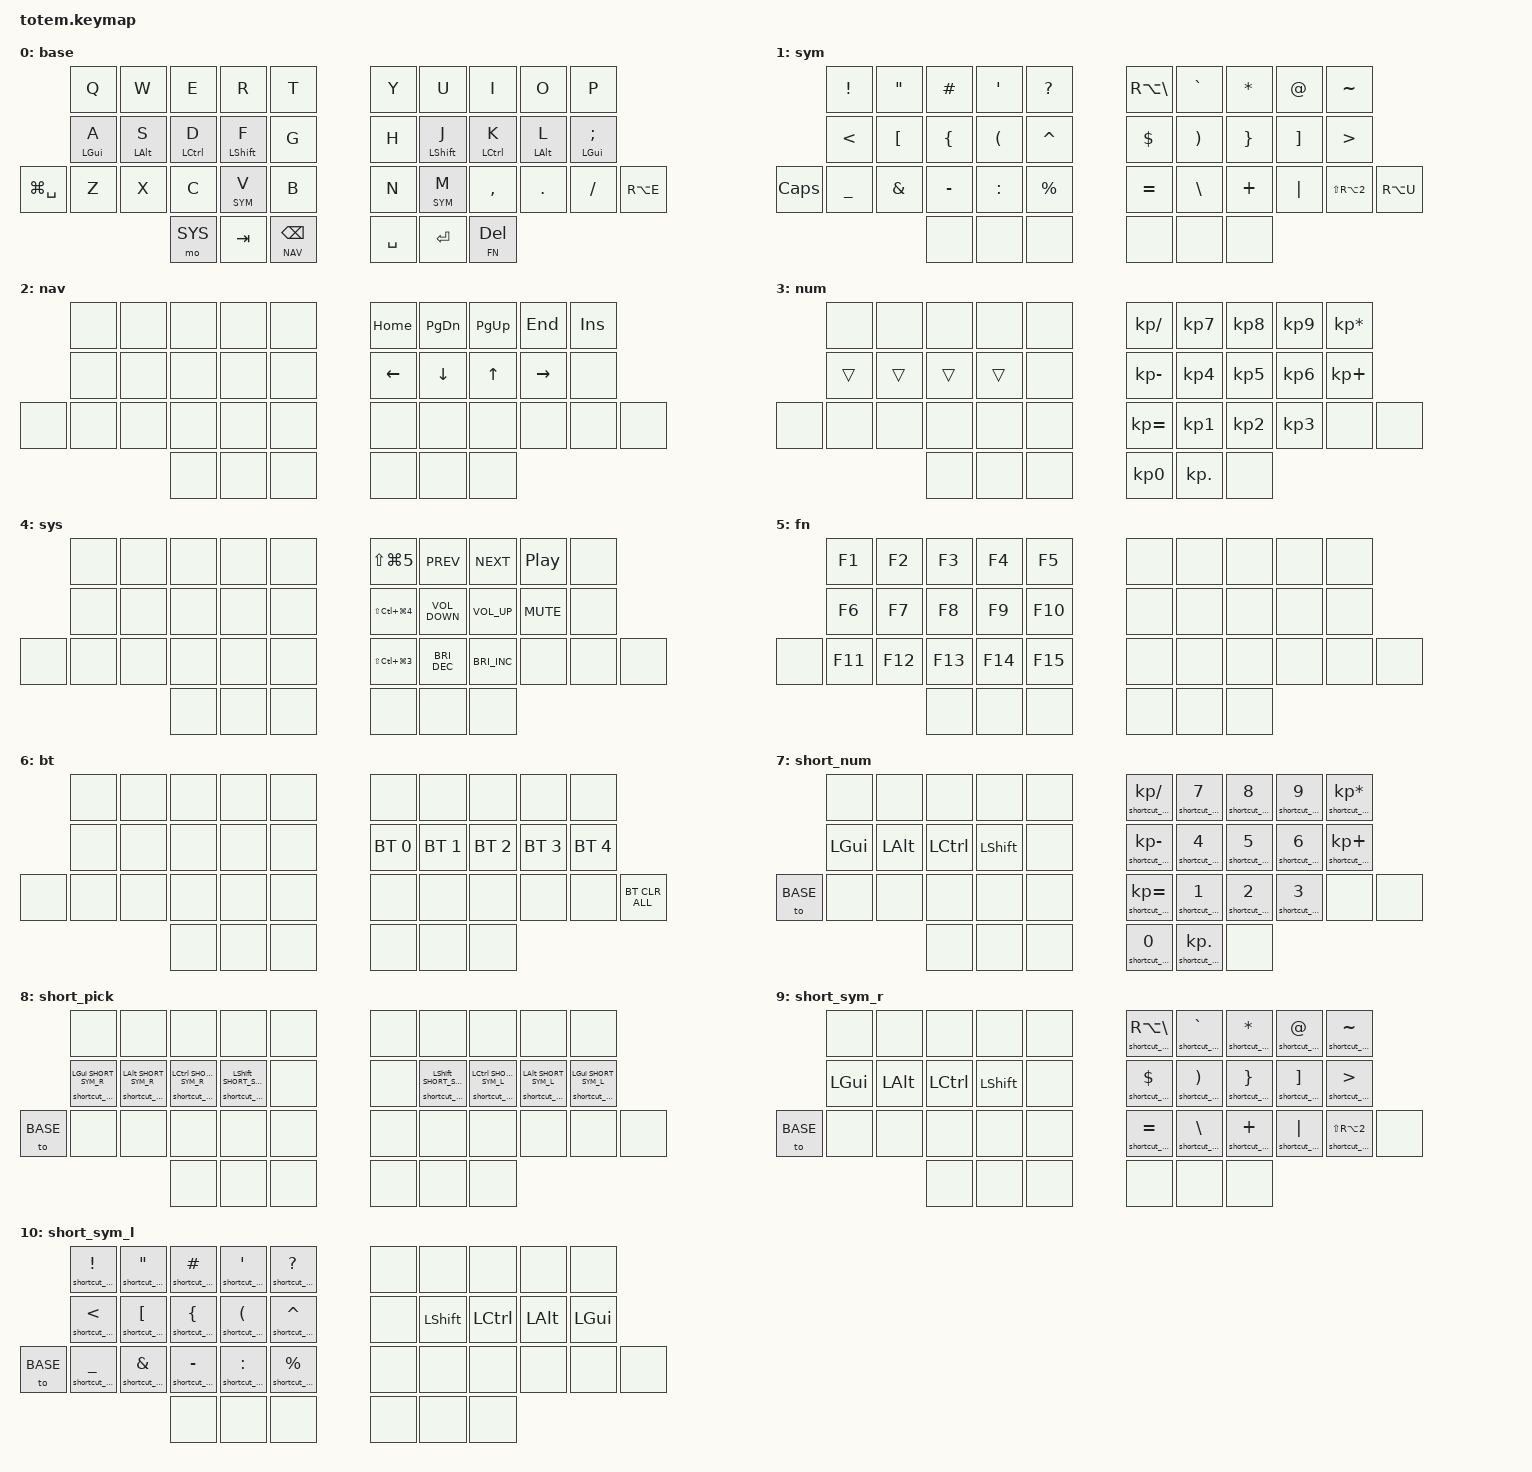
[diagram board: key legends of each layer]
//
//                                                        ▀▀▀▀▀     ▀▀▀▀▀          ▀▀█▀▀
//                                                        ▄▀▀▀▄  ▄  ▄▀▀▀▄  ▄  ▄▀▀▀▄  █  ▄▀▀▀▄
//                                                        █   █  █  █   █  █  █   █  █  █   █
//                                                         ▀▀▀   █   ▀▀▀   █   ▀▀▀   ▀   ▀▀▀
//                                                               █      ▄▄▄█▄▄▄    █   █  
//                                                               ▀      █  █  █     █▄█
//                                                             ▀▀▀▀▀    █  █  █      ▀
//                                                                      ▀  ▀  ▀
//
// ▄▄▄▄▄▄▄▄▄▄▄▄▄▄▄▄▄▄▄▄▄▄▄▄▄▄▄▄▄▄▄▄▄▄▄▄▄▄▄▄▄▄▄▄▄▄▄▄▄▄▄▄▄▄▄▄▄▄▄▄▄▄▄▄▄▄▄▄▄▄▄▄▄▄▄▄▄▄▄▄▄▄▄▄▄▄▄▄▄▄▄▄▄▄▄▄▄▄▄▄▄▄▄▄▄▄▄▄▄▄▄▄▄▄▄▄▄▄▄▄▄▄▄▄▄▄▄▄▄▄▄▄▄▄▄▄▄▄▄▄▄▄▄▄▄▄▄▄▄

#include <behaviors.dtsi>
#include <dt-bindings/zmk/bt.h>
#include <dt-bindings/zmk/keys.h>

#define BASE 0
#define SYM  1
#define NAV  2
#define NUM  3
#define SYS  4
#define FN   5
#define BT   6
#define SHORT_NUM   7
#define SHORT_PICK  8
#define SHORT_SYM_R 9
#define SHORT_SYM_L 10

/ {
    combos {
        compatible = "zmk,combos";

        combo_excl {
            bindings = <&kp RA(NUMBER_1)>;
            key-positions = <23 24>;
            layers = <SYM>;
        };

        combo_qmark {
            bindings = <&kp RA(RS(FSLH))>;
            key-positions = <27 28>;
            layers = <SYM>;
        };

        combo_guillemet_close {
            bindings = <&kp RA(RS(BACKSLASH))>;
            key-positions = <5 6>;
            layers = <SYM>;
        };

        combo_enie {
            bindings = <&macro_enie>;
            key-positions = <19 35>;
            layers = <BASE>;
        };

        combo_esc {
            bindings = <&kp ESC>;
            key-positions = <13 16>;
            layers = <BASE>;
        };

        combo_num {
            bindings = <&mo NUM>;
            key-positions = <23 24>;
            layers = <BASE>;
        };

        // Tap and release the thumbs, then enter one modified number/symbol.
        combo_shortcut_num {
            bindings = <&to SHORT_NUM>;
            key-positions = <34 35>;
            layers = <BASE>;
        };

        combo_shortcut_sym {
            bindings = <&to SHORT_PICK>;
            key-positions = <34 36>;
            layers = <BASE>;
        };

        combo_shortcut_excl {
            bindings = <&shortcut_key RA(NUMBER_1)>;
            key-positions = <23 24>;
            layers = <SHORT_SYM_L>;
        };

        combo_shortcut_qmark {
            bindings = <&shortcut_key RA(RS(FSLH))>;
            key-positions = <27 28>;
            layers = <SHORT_SYM_R>;
        };

        combo_shortcut_guillemet_close {
            bindings = <&shortcut_key RA(RS(BACKSLASH))>;
            key-positions = <5 6>;
            layers = <SHORT_SYM_R>;
        };

        combo_mgrid {
            bindings = <&kp LA(LG(G))>;
            key-positions = <34 37>;
        };

        combo_bt {
            bindings = <&mo BT>;
            key-positions = <22 23 24>;
            layers = <BASE>;
        };
    };

    behaviors {
        hrm_l: hrm_l {
            compatible = "zmk,behavior-hold-tap";
            label = "HRM_L";
            bindings = <&kp>, <&kp>;

            #binding-cells = <2>;
            flavor = "balanced";
            tapping-term-ms = <250>;
            quick-tap-ms = <200>;
            hold-trigger-key-positions = <5 6 7 8 9 31 19 30 29 18 17 28 16 27 15 26 37 36 35 34 33 32 10 11 12 13>;
            require-prior-idle-ms = <150>;
            hold-trigger-on-release;
        };

        hrm_r: hrm_r {
            compatible = "zmk,behavior-hold-tap";
            label = "HRM_R";
            bindings = <&kp>, <&kp>;

            #binding-cells = <2>;
            tapping-term-ms = <250>;
            quick-tap-ms = <200>;
            flavor = "balanced";
            hold-trigger-key-positions = <0 1 2 3 4 14 20 21 22 23 24 25 32 33 34 35 36 37 10 11 12 13 16 17 18 19>;
            require-prior-idle-ms = <150>;
            hold-trigger-on-release;
        };

        thumb_hold_tap: thumb_hold_tap {
            compatible = "zmk,behavior-hold-tap";
            label = "THUMB_HOLD_TAP";
            bindings = <&mo>, <&kp>;

            #binding-cells = <2>;
            tapping-term-ms = <200>;
            quick-tap-ms = <200>;
            flavor = "tap-preferred";
        };
    };

    macros {
        // The first modifier fixes the symbol hand; later modifiers are plain kp.
        shortcut_pick: shortcut_pick {
            compatible = "zmk,behavior-macro-two-param";
            #binding-cells = <2>;
            wait-ms = <0>;
            tap-ms = <0>;
            bindings = <&macro_tap>,
                       <&macro_param_2to1 &to MACRO_PLACEHOLDER>,
                       <&macro_press>,
                       <&macro_param_1to1 &kp MACRO_PLACEHOLDER>,
                       <&macro_pause_for_release>,
                       <&macro_release>,
                       <&macro_param_1to1 &kp MACRO_PLACEHOLDER>;
        };

        // Keep the target pressed normally; return to base only on its release.
        // Modifiers stay down until their own physical keys are released.
        shortcut_key: shortcut_key {
            compatible = "zmk,behavior-macro-one-param";
            #binding-cells = <1>;
            wait-ms = <0>;
            tap-ms = <0>;
            bindings = <&macro_press>,
                       <&macro_param_1to1 &kp MACRO_PLACEHOLDER>,
                       <&macro_pause_for_release>,
                       <&macro_release>,
                       <&macro_param_1to1 &kp MACRO_PLACEHOLDER>,
                       <&macro_tap &to BASE>;
        };

        macro_enie: macro_enie {
            compatible = "zmk,behavior-macro";
            #binding-cells = <0>;
            bindings = <&kp RA(N) &kp N>;
            label = "MACRO_ENIE";
        };
    };

    keymap {
        compatible = "zmk,keymap";

        base {
            bindings = <
               &kp Q          &kp W          &kp E           &kp R            &kp T                          &kp Y      &kp U           &kp I                     &kp O          &kp P
               &hrm_l LGUI A  &hrm_l LALT S  &hrm_l LCTRL D  &hrm_l LSHIFT F  &kp G                          &kp H      &hrm_r LSHFT J  &hrm_r LCTRL K            &hrm_r LALT L  &hrm_r LGUI SEMICOLON
&kp LG(SPACE)  &kp Z          &kp X          &kp C           &lt SYM V        &kp B                          &kp N      &lt SYM M       &kp COMMA                 &kp DOT        &kp SLASH              &kp RA(E)
                                             &mo SYS         &kp TAB          &thumb_hold_tap NAV BACKSPACE  &kp SPACE  &kp RETURN      &thumb_hold_tap FN DELETE
            >;
        };

        sym {
            bindings = <
              &kp EXCL        &kp DOUBLE_QUOTES  &kp HASH        &kp SQT               &kp QMARK      &kp RA(BACKSLASH)  &kp GRAVE              &kp ASTERISK     &kp AT_SIGN        &kp TILDE
              &kp LESS_THAN   &kp LEFT_BRACKET   &kp LEFT_BRACE  &kp LEFT_PARENTHESIS  &kp CARET      &kp DOLLAR  &kp RIGHT_PARENTHESIS  &kp RIGHT_BRACE  &kp RIGHT_BRACKET  &kp GREATER_THAN
&kp CAPSLOCK  &kp UNDERSCORE  &kp AMPERSAND      &kp MINUS       &kp COLON             &kp PERCENT    &kp EQUAL   &kp BACKSLASH          &kp PLUS         &kp PIPE           &kp LS(RA(N2))    &kp RA(U)
                                                     &none           &none                 &none          &none       &none                  &none
            >;
        };

        nav {
            bindings = <
       &none  &none  &none  &none  &none    &kp HOME  &kp PAGE_DOWN  &kp PAGE_UP  &kp END    &kp INS
       &none  &none  &none  &none  &none    &kp LEFT  &kp DOWN       &kp UP       &kp RIGHT  &none
&none  &none  &none  &none  &none  &none    &none     &none          &none        &none      &none    &none
                     &none  &none  &none    &none     &none          &none
            >;
        };

        num {
            bindings = <
       &none   &none   &none   &none   &none    &kp KP_DIVIDE    &kp KP_NUMBER_7  &kp KP_NUMBER_8  &kp KP_NUMBER_9  &kp KP_MULTIPLY
       &trans  &trans  &trans  &trans  &none    &kp KP_SUBTRACT  &kp KP_NUMBER_4  &kp KP_NUMBER_5  &kp KP_NUMBER_6  &kp KP_PLUS
&none  &none   &none   &none   &none   &none    &kp KP_EQUAL     &kp KP_NUMBER_1  &kp KP_NUMBER_2  &kp KP_NUMBER_3  &none            &none
                       &none   &none   &none    &kp KP_N0        &kp KP_DOT       &none
            >;
        };

        sys {
            bindings = <
       &none  &none  &none  &none  &none    &kp LS(LG(NUMBER_5))       &kp C_PREV            &kp C_NEXT            &kp C_PLAY_PAUSE  &none
       &none  &none  &none  &none  &none    &kp LS(LC(LG(NUMBER_4)))  &kp C_VOLUME_DOWN     &kp C_VOLUME_UP       &kp K_MUTE        &none
&none  &none  &none  &none  &none  &none    &kp LS(LC(LG(NUMBER_3)))  &kp C_BRIGHTNESS_DEC  &kp C_BRIGHTNESS_INC  &none             &none  &none
                     &none  &none  &none    &none                     &none                 &none
            >;
        };

        fn {
            bindings = <
       &kp F1   &kp F2   &kp F3   &kp F4   &kp F5     &none  &none  &none  &none  &none
       &kp F6   &kp F7   &kp F8   &kp F9   &kp F10    &none  &none  &none  &none  &none
&none  &kp F11  &kp F12  &kp F13  &kp F14  &kp F15    &none  &none  &none  &none  &none  &none
                         &none    &none    &none      &none  &none  &none
            >;
        };

        bt {
            bindings = <
       &none  &none  &none  &none  &none    &none         &none         &none         &none         &none
       &none  &none  &none  &none  &none    &bt BT_SEL 0  &bt BT_SEL 1  &bt BT_SEL 2  &bt BT_SEL 3  &bt BT_SEL 4
&none  &none  &none  &none  &none  &none    &none         &none         &none         &none         &none         &bt BT_CLR_ALL
                     &none  &none  &none    &none         &none         &none
            >;
        };

        // Direct modifiers avoid home-row hold/tap timing in shortcut modes.
        // Position 20 (far-left pinky key) cancels without sending Escape.
        short_num {
            bindings = <
          &none     &none     &none      &none      &none    &shortcut_key KP_DIVIDE   &shortcut_key N7 &shortcut_key N8 &shortcut_key N9 &shortcut_key KP_MULTIPLY
          &kp LGUI  &kp LALT  &kp LCTRL  &kp LSHIFT &none    &shortcut_key KP_SUBTRACT &shortcut_key N4 &shortcut_key N5 &shortcut_key N6 &shortcut_key KP_PLUS
&to BASE  &none     &none     &none      &none      &none    &shortcut_key KP_EQUAL    &shortcut_key N1 &shortcut_key N2 &shortcut_key N3 &none                     &none
                                      &none &none &none    &shortcut_key N0 &shortcut_key KP_DOT &none
            >;
        };

        // The first modifier selects the opposite symbol half for this shortcut.
        short_pick {
            bindings = <
          &none                           &none                           &none                            &none                             &none    &none &none                            &none                            &none                           &none
          &shortcut_pick LGUI SHORT_SYM_R &shortcut_pick LALT SHORT_SYM_R &shortcut_pick LCTRL SHORT_SYM_R &shortcut_pick LSHIFT SHORT_SYM_R &none    &none &shortcut_pick LSHFT SHORT_SYM_L &shortcut_pick LCTRL SHORT_SYM_L &shortcut_pick LALT SHORT_SYM_L &shortcut_pick LGUI SHORT_SYM_L
&to BASE  &none                           &none                           &none                            &none                             &none    &none &none                            &none                            &none                           &none                           &none
                                                                                 &none &none &none    &none &none &none
            >;
        };

        short_sym_r {
            bindings = <
          &none     &none     &none      &none      &none    &shortcut_key RA(BACKSLASH)  &shortcut_key GRAVE             &shortcut_key ASTERISK    &shortcut_key AT_SIGN       &shortcut_key TILDE
          &kp LGUI  &kp LALT  &kp LCTRL  &kp LSHIFT &none    &shortcut_key DOLLAR &shortcut_key RIGHT_PARENTHESIS &shortcut_key RIGHT_BRACE &shortcut_key RIGHT_BRACKET &shortcut_key GREATER_THAN
&to BASE  &none     &none     &none      &none      &none    &shortcut_key EQUAL  &shortcut_key BACKSLASH         &shortcut_key PLUS        &shortcut_key PIPE          &shortcut_key LS(RA(N2))   &none
                                      &none &none &none    &none &none &none
            >;
        };

        short_sym_l {
            bindings = <
          &shortcut_key EXCL      &shortcut_key DOUBLE_QUOTES &shortcut_key HASH       &shortcut_key SQT              &shortcut_key QMARK      &none &none     &none     &none    &none
          &shortcut_key LESS_THAN &shortcut_key LEFT_BRACKET  &shortcut_key LEFT_BRACE &shortcut_key LEFT_PARENTHESIS &shortcut_key CARET      &none &kp LSHFT &kp LCTRL &kp LALT &kp LGUI
&to BASE  &shortcut_key UNDERSCORE &shortcut_key AMPERSAND     &shortcut_key MINUS      &shortcut_key COLON            &shortcut_key PERCENT    &none &none     &none     &none    &none    &none
                                                                                               &none &none &none    &none &none &none
            >;
        };
    };

    conditional_layers { compatible = "zmk,conditional-layers"; };
};
